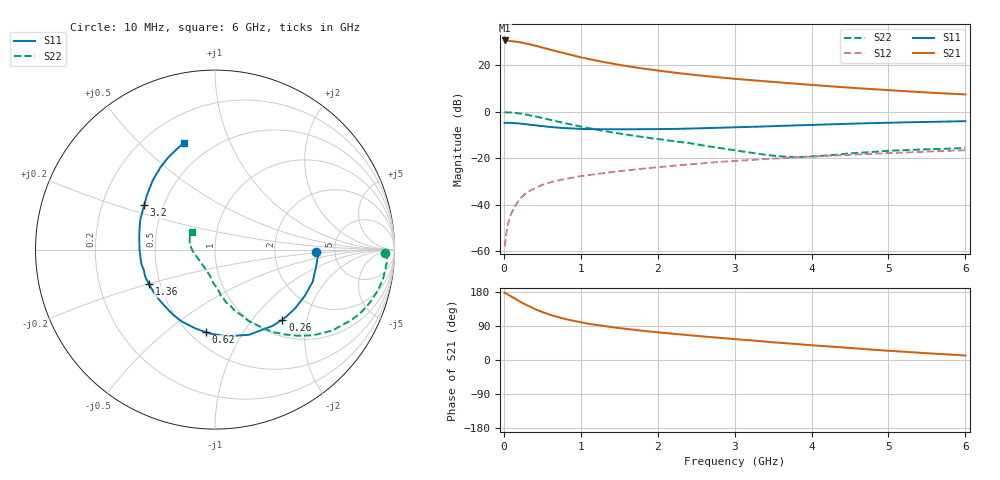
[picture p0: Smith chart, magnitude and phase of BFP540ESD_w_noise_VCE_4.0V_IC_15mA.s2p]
! Infineon Technologies  Discrete & RF Semiconductors
! BFP540ESD
! VCE =  4.0 V,  IC =  15 mA
! Common Emitter S-Parameters:  Nov 2015
# GHz  S  MA  R  50
!  f  S11  S21  S12  S22
! GHz  MAG  ANG  MAG  ANG  MAG  ANG  MAG  ANG
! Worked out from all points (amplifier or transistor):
!   210 points, 10 MHz to 6 GHz, reference 50 ohm
!   highest |S21| = 30.5 dB at 10 MHz (marker M1)
!   |S21| within 3 dB of that: start of sweep to 499.9 MHz
!   unconditionally stable (mu >= 1): start of sweep to 15.18 MHz; 2.388 GHz to end of sweep
!   at 185 MHz: K = 0.23, MSG = 34.1 dB, |S12| = -38.5 dB
!   at 1.52 GHz: K = 0.83, MSG = 22.7 dB, |S12| = -25.5 dB
!   at 6 GHz: K = 1.13, MAG = 9.8 dB, |S12| = -16.6 dB
!   lowest NFmin = 1.03 dB at 900 MHz
!   S11 on the Smith chart (normalised r, x): 10 MHz: 3.60, -0.11; 260 MHz: 1.30, -1.44; 620 MHz: 0.60, -0.70; 1.36 GHz: 0.43, -0.20; 3.2 GHz: 0.39, +0.25; 6 GHz: 0.36, +0.69
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0.01  0.5654 -1.1  33.33 177.7  0.0013 44.8  0.9454 -1.3
0.1  0.573 -18.4  32.27 167.1  0.0067 74.5  0.9509 -9.7
0.15  0.5624 -27.5  31.55 161.1  0.0095 74.3  0.9344 -14.4
0.2  0.5536 -36.2  30.59 155.3  0.013 73.5  0.9115 -19.0
0.26  0.5413 -46.1  29.28 148.7  0.0161 71.4  0.8801 -24.1
0.3  0.5328 -52.8  28.42 144.5  0.0187 70.8  0.8554 -27.3
0.4  0.5112 -68.1  25.92 134.9  0.0224 64.6  0.7932 -34.7
0.5  0.4878 -82.1  23.59 126.5  0.0268 62.3  0.7261 -41.1
0.62  0.4635 -96.1  20.82 118.3  0.0308 59.7  0.6526 -47.1
0.8  0.4412 -114.7  17.43 108.1  0.036 56.1  0.5585 -55.2
0.9  0.4316 -122.9  15.87 103.5  0.0383 54.3  0.5151 -58.4
1.02  0.4212 -132.0  14.28 98.8  0.0416 54.4  0.4686 -62.0
1.2  0.4168 -144.0  12.33 92.5  0.0454 53.4  0.4119 -66.7
1.36  0.4149 -152.4  11.01 88.0  0.0495 52.2  0.3695 -70.7
1.7  0.4175 -168.3  8.867 79.3  0.0568 50.8  0.3013 -78.1
2.02  0.4205 -179.9  7.475 72.7  0.0643 49.4  0.2554 -82.8
2.6  0.4398 162.6  5.794 61.9  0.0782 46.4  0.1848 -93.2
3.1  0.4606 150.2  4.866 53.6  0.0894 43.3  0.1392 -104.8
3.2  0.466 147.8  4.715 52.1  0.0917 42.5  0.1316 -108.7
4.1  0.5246 130.1  3.609 37.6  0.1104 35.5  0.1109 -161.1
5.1  0.5804 115.6  2.806 23.1  0.1303 27.4  0.146 164.5
6  0.6205 106.1  2.323 11.8  0.1476 21.2  0.1642 142.7
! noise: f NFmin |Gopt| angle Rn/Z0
0.9  1.03  0.22  -135  0.11
1.8  1.2  0.25  -147  0.1
2.4  1.21  0.25  -139  0.1
3  1.32  0.29  -136  0.11
4  1.4  0.41  -108  0.2
5  1.57  0.5  -90  0.3
6  1.83  0.54  -91  0.52
